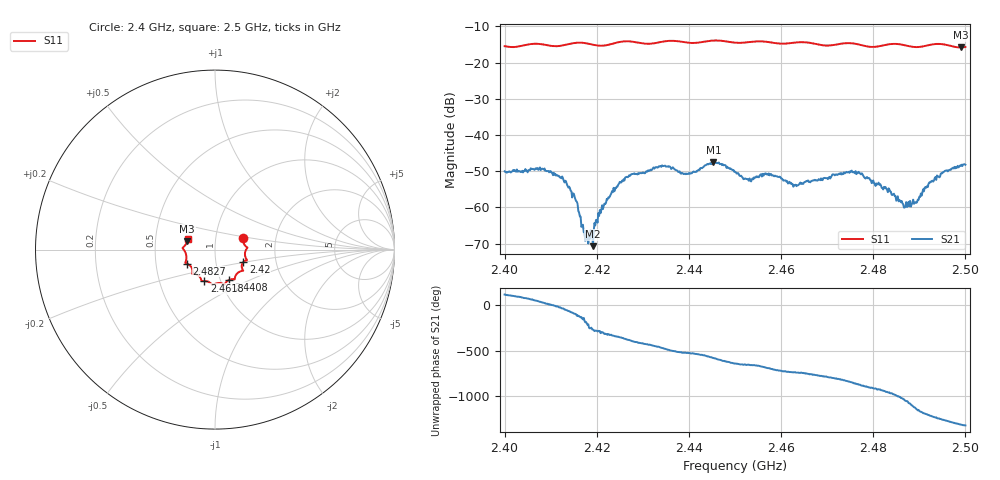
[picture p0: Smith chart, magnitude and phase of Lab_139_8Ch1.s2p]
# Hz S RI R 50
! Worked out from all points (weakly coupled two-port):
!   601 points, 2.4 GHz to 2.5 GHz, reference 50 ohm
!   highest |S21| = -47.55 dB at 2.4453 GHz (marker M1); lowest = -70.7 dB at 2.4192 GHz (marker M2)
!   lowest |S11| = -15.8 dB at 2.499 GHz (marker M3), VSWR 1.39, Z = 36.5 + j3.53 ohm
!   |S11| at or under -10 dB: start of sweep to end of sweep
!   S12 and S22 are empty: the file has one direction only
!   S11 on the Smith chart (normalised r, x): 2.4 GHz: 1.36, +0.17; 2.42 GHz: 1.36, -0.19; 2.4408 GHz: 1.10, -0.38; 2.4618 GHz: 0.84, -0.30; 2.4827 GHz: 0.72, -0.12; 2.5 GHz: 0.73, +0.09
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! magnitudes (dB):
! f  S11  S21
! 2.4 GHz  -15.5  -50.0
! 2.4082 GHz  -15.0  -49.3
! 2.4122 GHz  -15.4  -51.7
! 2.4153 GHz  -14.6  -57.7
! 2.4167 GHz  -14.5  -65.4
! 2.418 GHz  -14.8  -68.9
! 2.4192 GHz  -15.1  -70.7
! 2.42 GHz  -15.3  -63.5
! 2.4253 GHz  -14.2  -53.1
! 2.4333 GHz  -14.5  -48.9
! 2.4408 GHz  -14.6  -50.3
! 2.4453 GHz  -13.9  -47.6
! 2.45 GHz  -14.5  -50.1
! 2.4618 GHz  -14.7  -52.9
! 2.4667 GHz  -14.7  -52.7
! 2.4757 GHz  -14.7  -50.3
! 2.4827 GHz  -15.1  -54.4
! 2.4833 GHz  -15.0  -54.7
! 2.4878 GHz  -15.5  -59.7
! 2.4952 GHz  -15.0  -50.3
! 2.499 GHz  -15.8  -48.5
! 2.5 GHz  -15.7  -48.2
